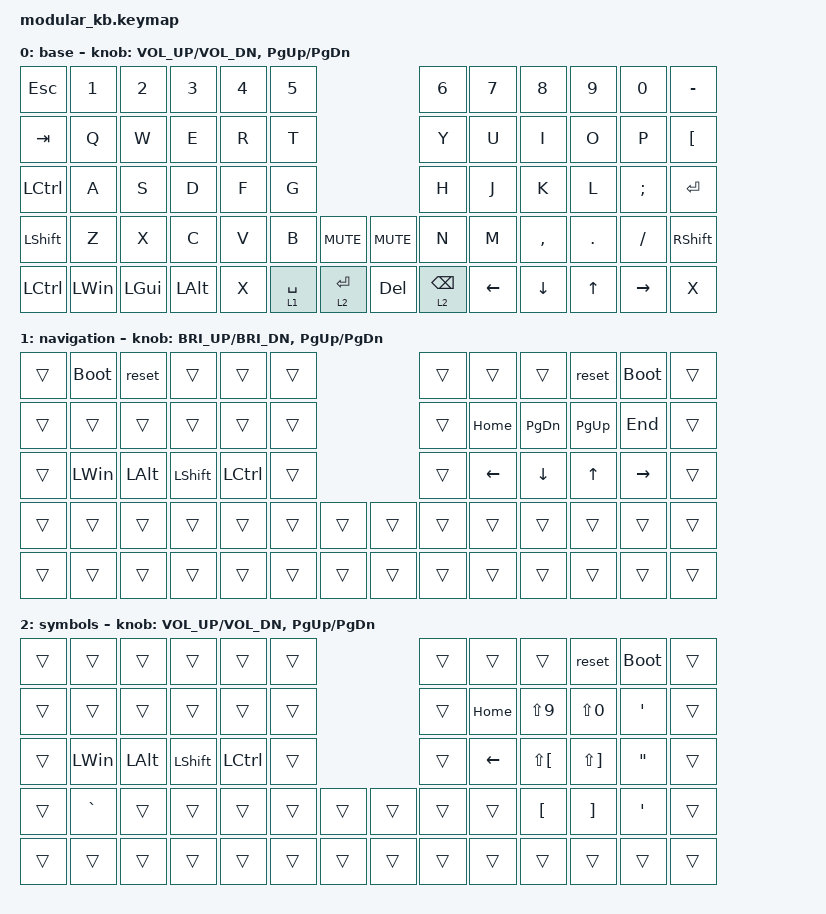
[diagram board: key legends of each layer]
#include <behaviors.dtsi>
#include <dt-bindings/zmk/keys.h>
#include <dt-bindings/zmk/bt.h>

/ {
	keymap {
		compatible = "zmk,keymap";

		base {
			bindings = <
&kp ESC    &kp N1 	&kp N2 	&kp N3 	&kp N4 	&kp N5           					&kp N6 	&kp N7 	&kp   N8  	&kp  N9 	&kp  N0  	&kp MINUS
&kp TAB    &kp Q  	&kp W  	&kp E  	&kp R  	&kp T            					&kp Y  	&kp U  	&kp   I   	&kp  O  	&kp   P  	&kp LBKT
&kp LCTRL  &kp A  	&kp S  	&kp D  	&kp F  	&kp G            					&kp H  	&kp J  	&kp   K   	&kp  L  	&kp SEMI 	&kp ENTER
&kp LSHFT  &kp Z  	&kp X  	&kp C  	&kp V  	&kp B     &kp K_MUTE     &kp K_MUTE &kp N  	&kp M  	&kp COMMA 	&kp DOT 	&kp FSLH 	&kp RSHFT      
&kp LCTRL  &kp LWIN &kp LGUI &kp LALT &kp X &lt 1 SPACE &lt 2 ENTER    &kp DEL   &lt 2 BSPC &kp LEFT &kp DOWN  	&kp UP      &kp RIGHT   &kp X
			>;
			sensor-bindings = <&inc_dec_kp C_VOL_UP C_VOL_DN &inc_dec_kp PG_UP PG_DN>;
		};

		navigation {
			bindings = <
&trans &bootloader  &reset  &trans &trans       &trans                              &trans  &trans  &trans      &reset      &bootloader &trans
&trans    &trans  	&trans 	&trans 	&trans 	    &trans           					&trans  &kp HOME &kp PG_DN  &kp PG_UP   &kp END     &trans
&trans    &kp LWIN  &kp LALT &kp LSHFT &kp LCTRL &trans                             &trans  &kp LEFT &kp DOWN   &kp UP      &kp RIGHT   &trans
&trans    &trans  	&trans 	&trans 	&trans 	    &trans    &trans         &trans		&trans 	&trans 	&trans      &trans      &trans      &trans      
&trans    &trans    &trans  &trans  &trans      &trans    &trans         &trans     &trans  &trans  &trans      &trans      &trans      &trans
			>;
			sensor-bindings = <&inc_dec_kp C_BRI_UP C_BRI_DN &inc_dec_kp PG_UP PG_DN>;
		};


        symbols {
			bindings = <
&trans    &trans    &trans    &trans    &trans      &trans                              &trans  &trans    &trans       &reset         &bootloader      &trans
&trans    &trans  	&trans 	  &trans 	&trans 	    &trans           					&trans  &kp HOME &kp LS(N9)    &kp LS(N0)     &kp SQT     &trans
&trans    &kp LWIN  &kp LALT  &kp LSHFT &kp LCTRL   &trans                              &trans  &kp LEFT &kp LS(LBKT)  &kp LS(RBKT)   &kp DQT     &trans
&trans    &kp GRAVE &trans 	  &trans 	&trans 	    &trans    &trans         &trans		&trans 	&trans   &kp LBKT      &kp RBKT       &kp SQT     &trans      
&trans    &trans    &trans    &trans    &trans      &trans    &trans         &trans     &trans  &trans   &trans        &trans         &trans      &trans
			>;
			sensor-bindings = <&inc_dec_kp C_VOL_UP C_VOL_DN &inc_dec_kp PG_UP PG_DN>;
		};
	};
};
